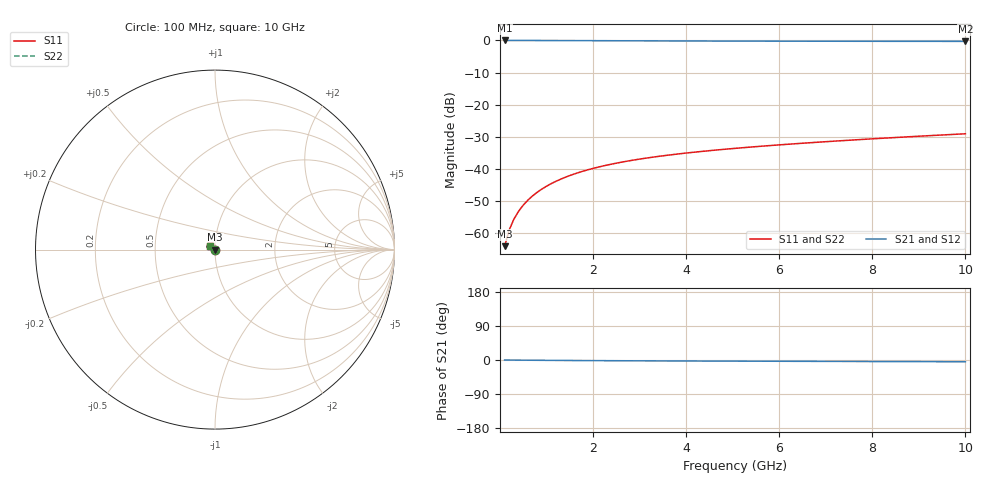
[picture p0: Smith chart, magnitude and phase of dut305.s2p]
! Touchstone file exported from HFSS 2024.1.0
!  File:  C:/UserFiles/LocalFiles/RDL_TSV_Batchsim/temp_TSV1_305_1779615275.aedt
!  Generated:  05:43:16 PM May 24, 2026
!  Design:  TSV1
!  Project:  temp_TSV1_305_1779615275
!  Setup:  Setup1
!  Solution:  Sweep
! Variables:
!  dtsv = 6.28um
!  hbump = 3um
!  htsv = 66.39um
!  lrdl = 252.1521522um
!  p = 40
!  p1 = 53.73um
!  t = 500um
!  trdl = 3um
!  wrdl = 24.89489489um
# GHz S MA R 50.000000
! Terminal data exported
! Port[1] = TSV22_T1
! Port[2] = TSV22_T2
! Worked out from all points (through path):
!   100 points, 100 MHz to 10 GHz, reference 50 ohm
!   highest |S21| = 0.00 dB at 100 MHz (marker M1); lowest = -0.3 dB at 10 GHz (marker M2)
!   lowest |S11| = -63.9 dB at 100 MHz (marker M3), VSWR 1.00, Z = 50 - j0.0561 ohm
!   |S11| at or under -10 dB: start of sweep to end of sweep
!   |S22| runs from -63.9 to -29.0 dB; largest |S21 - S12| = 3.2e-15
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0.1  0.0006348 -62.0  0.9997 -0.1  0.9997 -0.1  0.0006348 -62.0
! Gamma 0 0 0 0
! Port Impedance 50 0 50 0
0.2  0.001141 -78.6  0.9996 -0.2  0.9996 -0.2  0.001141 -78.6
0.3  0.001673 -86.5  0.9994 -0.3  0.9994 -0.3  0.001673 -86.5
0.4  0.002212 -91.6  0.9993 -0.4  0.9993 -0.4  0.002212 -91.6
0.5  0.002754 -95.7  0.999 -0.5  0.999 -0.5  0.002754 -95.7
0.6  0.003295 -99.2  0.9988 -0.6  0.9988 -0.6  0.003295 -99.2
0.7  0.003833 -102.4  0.9985 -0.6  0.9985 -0.6  0.003833 -102.4
0.8  0.004368 -105.3  0.9981 -0.7  0.9981 -0.7  0.004368 -105.3
0.9  0.004899 -108.1  0.9977 -0.8  0.9977 -0.8  0.004899 -108.1
1.1  0.005942 -113.3  0.9969 -1.0  0.9969 -1.0  0.005942 -113.3
1.4  0.007455 -120.5  0.9954 -1.2  0.9954 -1.2  0.007455 -120.5
1.6  0.008424 -125.0  0.9944 -1.4  0.9944 -1.4  0.008424 -125.0
1.8  0.00936 -129.4  0.9932 -1.5  0.9932 -1.5  0.00936 -129.4
2.1  0.0107 -135.6  0.9915 -1.7  0.9915 -1.7  0.0107 -135.6
2.5  0.01238 -143.4  0.9892 -1.9  0.9892 -1.9  0.01238 -143.4
2.9  0.01394 -150.6  0.9869 -2.1  0.9869 -2.1  0.01394 -150.6
3.4  0.01575 -158.8  0.9842 -2.4  0.9842 -2.4  0.01575 -158.8
4.2  0.01841 -170.3  0.9805 -2.7  0.9805 -2.7  0.01841 -170.3
5.1  0.02118 178.7  0.9771 -3.0  0.9771 -3.0  0.02118 178.7
6.7  0.02583 163.2  0.9728 -3.6  0.9728 -3.6  0.02583 163.2
8.4  0.03072 150.9  0.9698 -4.1  0.9698 -4.1  0.03072 150.9
10  0.03542 142.0  0.9677 -4.7  0.9677 -4.7  0.03542 142.0
